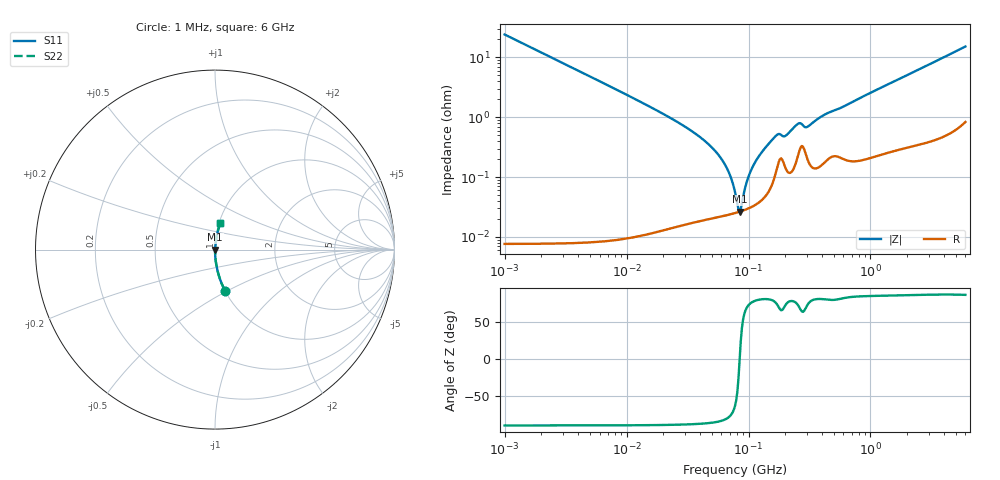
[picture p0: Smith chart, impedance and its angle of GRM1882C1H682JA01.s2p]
!Murata Part Number: GRM1882C1H682JA01
!These Parameters are Measured in Series Mode Connection
!Data Generated on Mar 30, 2021
!  o--ll--o
!Port1  Port2
!  o------o
!Operation Temp=25[degC], DC Bias Voltage=0[V]
!Freq. Start=1000[kHz] Stop=6[GHz] 401[Steps]
# Hz S RI R 50
!Freq.(Hz) S11(Real) S11(Imag) S21(Real) S21(Imag) S12(Real) S12(Imag) S22(Real) S22(Imag)
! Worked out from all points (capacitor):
!   401 points, 1 MHz to 6 GHz, reference 50 ohm
!   read as one part in series: C = 6.59 nF near 1.044 MHz
!   lowest |Z| = 26.4 mohm at 84.5 MHz (marker M1)
!   series resonance near 84.59 MHz, so ESL is about 540 pH
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1000000  0.0552 -0.2282  0.9448 0.2282  0.9448 0.2282  0.0552 -0.2282
4293785  0.00322 -0.0559  0.9968 0.0559  0.9968 0.0559  0.00322 -0.0559
1.843659e7  0.000278 -0.0124  0.9997 0.0124  0.9997 0.0124  0.000278 -0.0124
3.46415e7  0.000205 -0.00577  0.9998 0.00577  0.9998 0.00577  0.000205 -0.00577
5.124051e7  0.000214 -0.00297  0.9998 0.00297  0.9998 0.00297  0.000214 -0.00297
6.652088e7  0.000233 -0.00138  0.9998 0.00138  0.9998 0.00138  0.000233 -0.00138
7.256705e7  0.000242 -0.00088  0.9998 0.00088  0.9998 0.00088  0.000242 -0.00088
7.745967e7  0.000251 -0.000505  0.9997 0.000505  0.9997 0.000505  0.000251 -0.000505
8.090333e7  0.000257 -0.000256  0.9997 0.000256  0.9997 0.000256  0.000257 -0.000256
8.450008e7  0.000264 -6.1e-06  0.9997 6.1e-06  0.9997 6.1e-06  0.000264 -6.1e-06
8.825674e7  0.000272 0.000245  0.9997 -0.000245  0.9997 -0.000245  0.000272 0.000245
9.627852e7  0.000291 0.000752  0.9997 -0.000752  0.9997 -0.000752  0.000291 0.000752
1.050294e8  0.000316 0.00127  0.9997 -0.00127  0.9997 -0.00127  0.000316 0.00127
1.196694e8  0.000372 0.00209  0.9996 -0.00209  0.9996 -0.00209  0.000372 0.00209
1.455431e8  0.000575 0.00351  0.9994 -0.00351  0.9994 -0.00351  0.000575 0.00351
1.694764e8  0.00132 0.00481  0.9987 -0.00481  0.9987 -0.00481  0.00132 0.00481
2.016844e8  0.00141 0.0047  0.9986 -0.0047  0.9986 -0.0047  0.00141 0.0047
2.561955e8  0.00245 0.00743  0.9976 -0.00743  0.9976 -0.00743  0.00245 0.00743
2.983246e8  0.00227 0.0064  0.9977 -0.0064  0.9977 -0.0064  0.00227 0.0064
3.325952e8  0.00151 0.00782  0.9985 -0.00782  0.9985 -0.00782  0.00151 0.00782
1.428092e9  0.00389 0.0361  0.9961 -0.0361  0.9961 -0.0361  0.00389 0.0361
6e9  0.0303 0.1461  0.9697 -0.1461  0.9697 -0.1461  0.0303 0.1461
